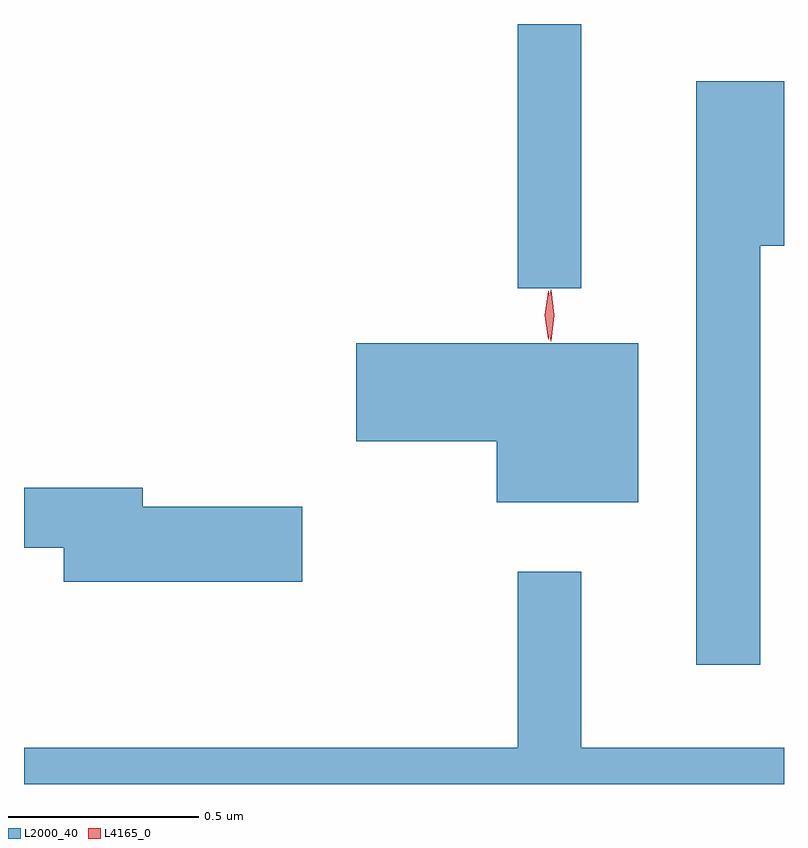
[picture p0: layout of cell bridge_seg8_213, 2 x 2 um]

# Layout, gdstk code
import gdstk
lib = gdstk.Library(unit=1e-6, precision=1e-09)
def R(c, l, rs):  # rectangles x0, y0, x1, y1
    for r in rs: c.add(gdstk.rectangle(r[:2], r[2:], *l))
def P(c, l, *ps):  # polygons
    for p in ps: c.add(gdstk.Polygon(p, *l))
L2000_40 = (2000, 40)
L4165_0 = (4165, 0)

bridge_seg8_213 = lib.new_cell('bridge_seg8_213')
R(bridge_seg8_213, L2000_40, [(1216.941,1908.933,1217.109,1909.629)])
P(bridge_seg8_213, L2000_40, [(1217.579,1909.046),(1217.642,1909.046),(1217.642,1909.479),(1217.411,1909.479),(1217.411,1907.943),(1217.579,1907.943)],
  [(1217.259,1908.789),(1216.516,1908.789),(1216.516,1908.531),(1216.886,1908.531),(1216.886,1908.371),(1217.259,1908.371)],
  [(1216.374,1908.359),(1215.954,1908.359),(1215.954,1908.409),(1215.642,1908.409),(1215.642,1908.251),(1215.746,1908.251),(1215.746,1908.161),(1216.374,1908.161)],
  [(1217.642,1907.724),(1217.109,1907.724),(1217.109,1908.188),(1216.941,1908.188),(1216.941,1907.724),(1215.642,1907.724),(1215.642,1907.629),(1217.642,1907.629)])
P(bridge_seg8_213, L4165_0, [(1217.022,1908.8),(1217.013,1908.863),(1217.022,1908.926),(1217.023,1908.927),(1217.023,1908.926),(1217.033,1908.863),(1217.023,1908.8),(1217.023,1908.8)],
  [(1217.028,1908.794),(1217.019,1908.862),(1217.028,1908.93),(1217.028,1908.93),(1217.029,1908.93),(1217.038,1908.862),(1217.03,1908.794),(1217.029,1908.794)])

lib.write_gds('bridge_seg8_213.gds')
